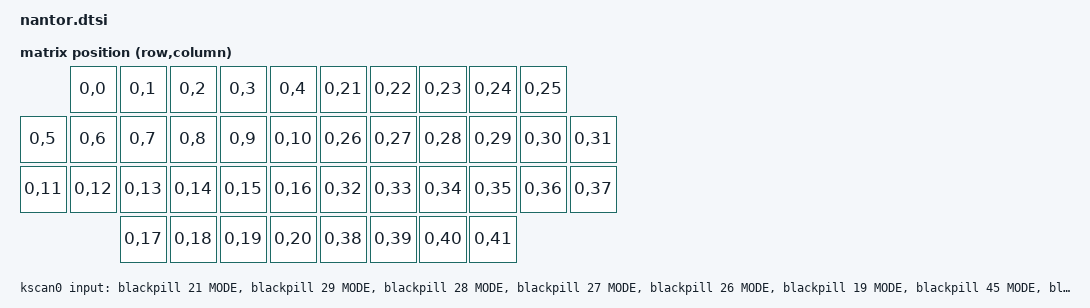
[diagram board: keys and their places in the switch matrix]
#include <dt-bindings/zmk/matrix_transform.h>
#define MODE (GPIO_ACTIVE_LOW | GPIO_PULL_UP)

/ {
  chosen {
    zmk,kscan = &kscan0;
    zmk,matrix_transform = &default_transform;
  };

  default_transform: keymap_transform_0 {
    compatible = "zmk,matrix-transform";
    rows = <1>;
    columns = <42>;
    map = <
               RC(0,0)  RC(0,1)  RC(0,2)  RC(0,3)  RC(0,4)     RC(0,21) RC(0,22) RC(0,23) RC(0,24) RC(0,25)
      RC(0,5)  RC(0,6)  RC(0,7)  RC(0,8)  RC(0,9)  RC(0,10)    RC(0,26) RC(0,27) RC(0,28) RC(0,29) RC(0,30) RC(0,31)
      RC(0,11) RC(0,12) RC(0,13) RC(0,14) RC(0,15) RC(0,16)    RC(0,32) RC(0,33) RC(0,34) RC(0,35) RC(0,36) RC(0,37)
                        RC(0,17) RC(0,18) RC(0,19) RC(0,20)    RC(0,38) RC(0,39) RC(0,40) RC(0,41)
    >;
  };

  kscan0: kscan {
    compatible = "zmk,kscan-gpio-direct";
    input-gpios =
                             <&blackpill 21 MODE>,<&blackpill 29 MODE>,<&blackpill 28 MODE>,<&blackpill 27 MODE>,<&blackpill 26 MODE>,
        <&blackpill 19 MODE>,<&blackpill 45 MODE>,<&blackpill 41 MODE>,<&blackpill 40 MODE>,<&blackpill 39 MODE>,<&blackpill 38 MODE>,
        <&blackpill 46 MODE>,<&blackpill 14 MODE>,<&blackpill 15 MODE>,<&blackpill 16 MODE>,<&blackpill 17 MODE>,<&blackpill 18 MODE>,
                                                  <&blackpill 13 MODE>,<&blackpill 12 MODE>,<&blackpill 11 MODE>,<&blackpill 10 MODE>;
  };
};
